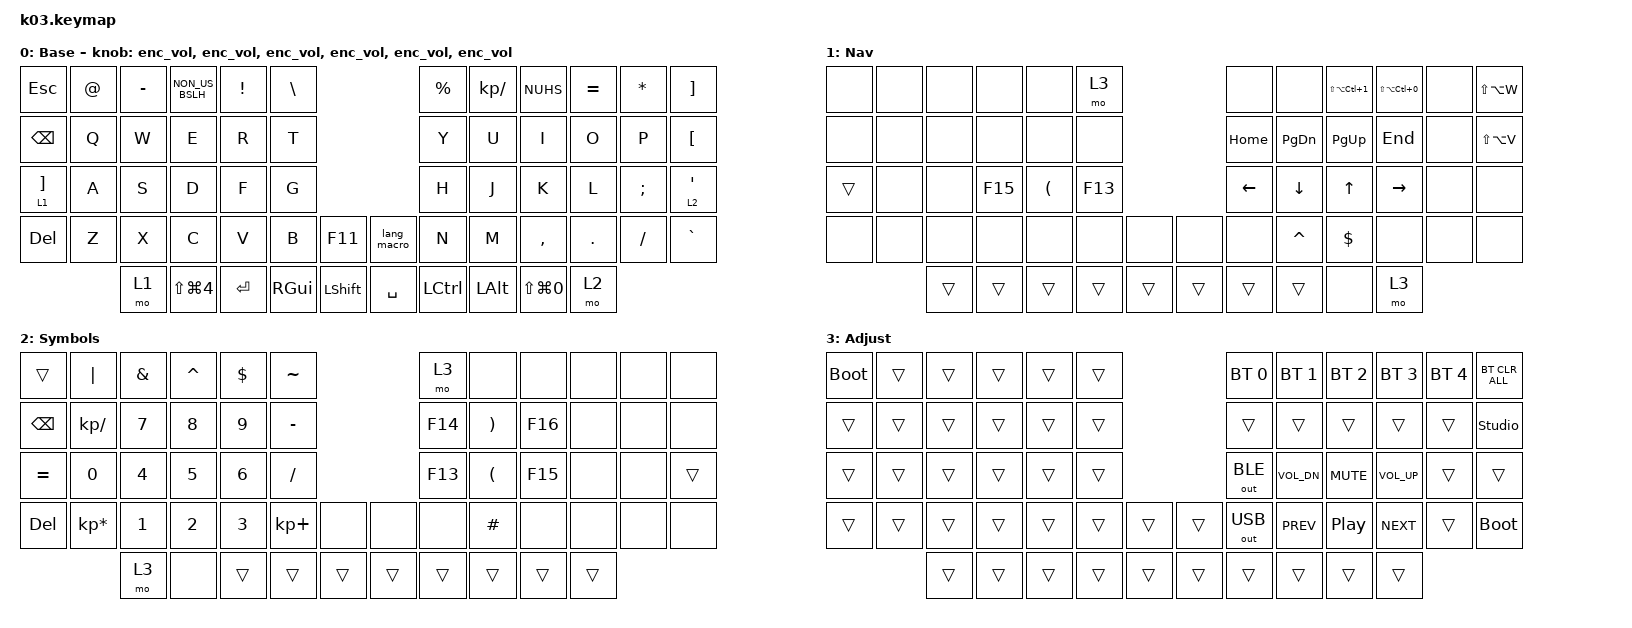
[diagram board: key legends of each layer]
#include "keys_ru.h"
#include <behaviors.dtsi>
#include <dt-bindings/zmk/bt.h>
#include <dt-bindings/zmk/keys.h>
#include <dt-bindings/zmk/outputs.h>

/ {
    behaviors {
        enc_vol: enc_vol {
            compatible = "zmk,behavior-sensor-rotate";
            label = "ENC_VOL";
            #sensor-binding-cells = <0>;
            bindings = <&kp C_VOL_UP>, <&kp C_VOL_DN>;
        };

        alt_lang_macro: alt_lang_macro {
            compatible = "zmk,behavior-hold-tap";
            label = "ALT_LANG_MACRO";
            bindings = <&kp>, <&lang_macro>;

            #binding-cells = <2>;
            tapping-term-ms = <200>;
            flavor = "tap-preferred";
        };
    };

    macros {
        lang_macro: lang_macro {
            compatible = "zmk,behavior-macro";
            #binding-cells = <0>;
            bindings = <&kp LC(LG(SPACE)) &kp LG(SPACE)>;
            label = "LANG_MACRO";
        };
    };

    combos {
        compatible = "zmk,combos";

        combo_esc {
            bindings = <&kp ESC>;
            key-positions = <27 28>;
            timeout-ms = <40>;
            layers = <0>;
        };

        combo_tab {
            bindings = <&kp TAB>;
            key-positions = <31 32>;
            timeout-ms = <40>;
            layers = <0>;
        };

        lang_change {
            bindings = <&lang_macro>;
            key-positions = <45 46>;
        };
    };

    keymap {
        compatible = "zmk,keymap";

        base {
            bindings = <
&kp ESC              &kp AT_SIGN  &kp MINUS  &kp NON_US_BSLH       &kp EXCLAMATION  &kp BSLH                                 &kp PERCENT  &kp KP_SLASH  &kp NUHS        &kp EQUAL  &kp ASTRK  &kp RBKT
&kp BACKSPACE        &kp Q        &kp W      &kp E                 &kp R            &kp T                                    &kp Y        &kp U         &kp I           &kp O      &kp P      &kp LEFT_BRACKET
&lt 1 RIGHT_BRACKET  &kp A        &kp S      &kp D                 &kp F            &kp G                                    &kp H        &kp J         &kp K           &kp L      &kp SEMI   &lt 2 SQT
&kp DELETE           &kp Z        &kp X      &kp C                 &kp V            &kp B     &kp F11           &lang_macro  &kp N        &kp M         &kp COMMA       &kp DOT    &kp FSLH   &kp GRAVE
                                  &mo 1      &kp LS(LG(NUMBER_4))  &kp ENTER        &kp RGUI  &kp LEFT_SHIFT    &kp SPACE    &kp LCTRL    &kp LEFT_ALT  &kp LS(LG(N0))  &mo 2
            >;

            display-name = "Base";
            sensor-bindings =
                <&enc_vol>,
                <&enc_vol>,
                <&enc_vol>,
                <&enc_vol>,
                <&enc_vol>,
                <&enc_vol>;
        };

        nav {
            bindings = <
&none   &none  &none   &none    &none     &mo 3                      &none           &none           &kp LS(LA(LC(N1)))  &kp LS(LA(LC(N0)))  &none  &kp LS(LA(W))
&none   &none  &none   &none    &none     &none                      &kp HOME        &kp PAGE_DOWN   &kp PAGE_UP         &kp END             &none  &kp LS(LA(V))
&trans  &none  &none   &kp F15  &kp LPAR  &kp F13                    &kp LEFT_ARROW  &kp DOWN_ARROW  &kp UP              &kp RIGHT           &none  &none
&none   &none  &none   &none    &none     &none    &none     &none   &none           &kp CARET       &kp DOLLAR          &none               &none  &none
               &trans  &trans   &trans    &trans   &trans    &trans  &trans          &trans          &none               &mo 3
            >;

            display-name = "Nav";
        };

        sym {
            bindings = <
&trans         &kp PIPE         &kp AMPERSAND  &kp CARET     &kp DOLLAR    &kp TILDE                      &mo 3    &none      &none    &none   &none  &none
&kp BACKSPACE  &kp KP_SLASH     &kp N7         &kp N8        &kp N9        &kp MINUS                      &kp F14  &kp RPAR   &kp F16  &none   &none  &none
&kp EQUAL      &kp N0           &kp NUMBER_4   &kp NUMBER_5  &kp N6        &kp FSLH                       &kp F13  &kp LPAR   &kp F15  &none   &none  &trans
&kp DELETE     &kp KP_MULTIPLY  &kp N1         &kp NUMBER_2  &kp NUMBER_3  &kp KP_PLUS  &none     &none   &none    &kp POUND  &none    &none   &none  &none
                                &mo 3          &none         &trans        &trans       &trans    &trans  &trans   &trans     &trans   &trans
            >;

            display-name = "Symbols";
        };

        adj {
            bindings = <
&bootloader  &trans  &trans  &trans  &trans  &trans                    &bt BT_SEL 0  &bt BT_SEL 1  &bt BT_SEL 2      &bt BT_SEL 3  &bt BT_SEL 4  &bt BT_CLR_ALL
&trans       &trans  &trans  &trans  &trans  &trans                    &trans        &trans        &trans            &trans        &trans        &studio_unlock
&trans       &trans  &trans  &trans  &trans  &trans                    &out OUT_BLE  &kp C_VOL_DN  &kp C_MUTE        &kp C_VOL_UP  &trans        &trans
&trans       &trans  &trans  &trans  &trans  &trans  &trans    &trans  &out OUT_USB  &kp C_PREV    &kp C_PLAY_PAUSE  &kp C_NEXT    &trans        &bootloader
                     &trans  &trans  &trans  &trans  &trans    &trans  &trans        &trans        &trans            &trans
            >;

            display-name = "Adjust";
        };
    };
};
